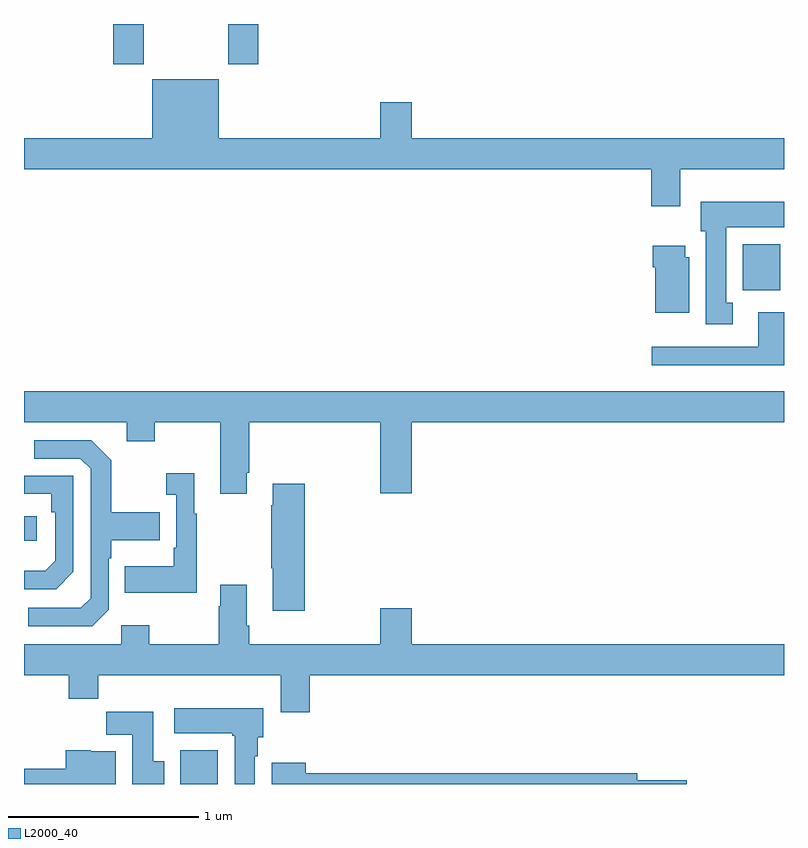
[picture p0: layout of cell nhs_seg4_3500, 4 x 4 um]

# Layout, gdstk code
import gdstk
lib = gdstk.Library(unit=1e-6, precision=1e-09)
def R(c, l, rs):  # rectangles x0, y0, x1, y1
    for r in rs: c.add(gdstk.rectangle(r[:2], r[2:], *l))
def P(c, l, *ps):  # polygons
    for p in ps: c.add(gdstk.Polygon(p, *l))
L2000_40 = (2000, 40)

nhs_seg4_3500 = lib.new_cell('nhs_seg4_3500')
R(nhs_seg4_3500, L2000_40, [(295.823,810.9,296.02,811.078), (295,812.18,295.066,812.31), (298.784,813.5,298.981,813.742), (295.469,814.689,295.629,814.9), (296.074,814.689,296.234,814.9)])
P(nhs_seg4_3500, L2000_40, [(298.453,814.136),(299,814.136),(299,814.3),(297.04,814.3),(297.04,814.489),(296.876,814.489),(296.876,814.3),(296.026,814.3),(296.026,814.609),(295.676,814.609),(295.676,814.3),(295,814.3),(295,814.136),(298.301,814.136),(298.301,813.942),(298.453,813.942)],
  [(298.729,813.434),(298.696,813.434),(298.696,813.83),(299,813.83),(299,813.964),(298.562,813.964),(298.562,813.81),(298.589,813.81),(298.589,813.321),(298.729,813.321)],
  [(298.501,813.672),(298.48,813.672),(298.48,813.733),(298.31,813.733),(298.31,813.62),(298.322,813.62),(298.322,813.38),(298.501,813.38)],
  [(299,813.382),(298.865,813.382),(298.865,813.201),(298.305,813.201),(298.305,813.104),(299,813.104)],
  [(296.173,812.539),(296.186,812.539),(296.186,812.804),(296.876,812.804),(296.876,812.43),(297.04,812.43),(297.04,812.804),(299,812.804),(299,812.968),(295,812.968),(295,812.804),(295.541,812.804),(295.541,812.705),(295.689,812.705),(295.689,812.804),(296.033,812.804),(296.033,812.427),(296.173,812.427)],
  [(295.446,811.818),(295.446,812.087),(295.459,812.087),(295.459,812.183),(295.715,812.183),(295.715,812.331),(295.459,812.331),(295.459,812.603),(295.353,812.709),(295.053,812.709),(295.053,812.613),(295.296,812.613),(295.35,812.559),(295.35,811.878),(295.299,811.827),(295.023,811.827),(295.023,811.731),(295.359,811.731)],
  [(295.909,812.323),(295.897,812.323),(295.897,812.536),(295.749,812.536),(295.749,812.423),(295.8,812.423),(295.8,812.143),(295.788,812.143),(295.788,812.047),(295.531,812.047),(295.531,811.907),(295.909,811.907)],
  [(295.26,812.016),(295.26,812.523),(295,812.523),(295,812.427),(295.144,812.427),(295.144,812.33),(295.164,812.33),(295.164,812.076),(295.111,812.023),(295,812.023),(295,811.926),(295.17,811.926)],
  [(296.477,812.479),(296.309,812.479),(296.309,812.366),(296.302,812.366),(296.302,812.035),(296.309,812.035),(296.309,811.812),(296.477,811.812)],
  [(296.504,811.472),(299,811.472),(299,811.636),(297.04,811.636),(297.04,811.825),(296.876,811.825),(296.876,811.636),(296.186,811.636),(296.186,811.732),(296.173,811.732),(296.173,811.948),(296.033,811.948),(296.033,811.835),(296.026,811.835),(296.026,811.636),(295.659,811.636),(295.659,811.735),(295.512,811.735),(295.512,811.636),(295,811.636),(295,811.472),(295.235,811.472),(295.235,811.348),(295.391,811.348),(295.391,811.472),(296.351,811.472),(296.351,811.278),(296.504,811.278)],
  [(296.215,811.046),(296.23,811.046),(296.23,811.146),(296.26,811.146),(296.26,811.3),(295.791,811.3),(295.791,811.166),(296.095,811.166),(296.095,811.153),(296.108,811.153),(296.108,810.9),(296.215,810.9)],
  [(295.738,811.02),(295.681,811.02),(295.681,811.279),(295.432,811.279),(295.432,811.16),(295.571,811.16),(295.571,810.9),(295.738,810.9)],
  [(295.483,811.072),(295.35,811.072),(295.35,811.078),(295.22,811.078),(295.22,810.98),(295.002,810.98),(295.002,810.9),(295.483,810.9)],
  [(298.489,810.92),(298.228,810.92),(298.228,810.956),(296.482,810.956),(296.482,811.012),(296.303,811.012),(296.303,810.9),(298.489,810.9)])

lib.write_gds('nhs_seg4_3500.gds')
